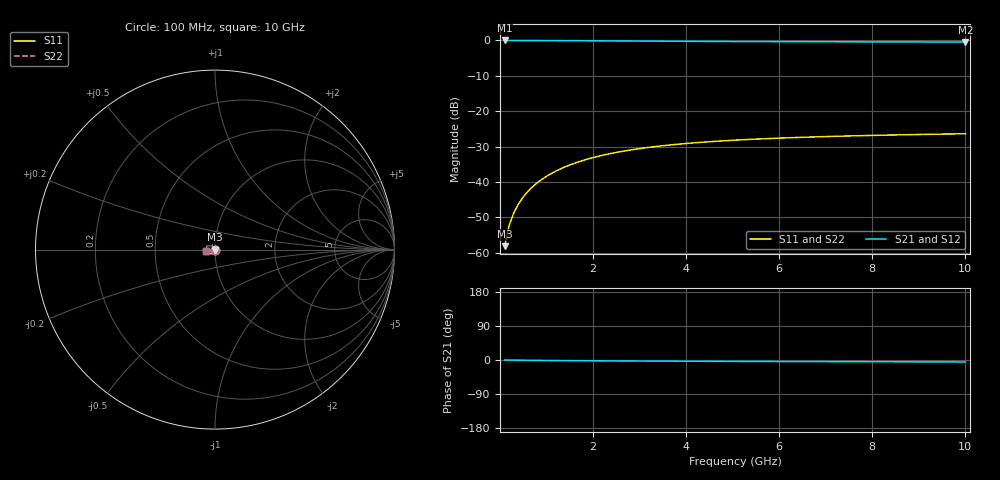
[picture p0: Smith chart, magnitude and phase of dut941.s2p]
! Touchstone file exported from HFSS 2024.1.0
!  File:  C:/UserFiles/LocalFiles/RDL_TSV_Batchsim/temp_TSV1_941_1779948094.aedt
!  Generated:  02:06:43 PM May 28, 2026
!  Design:  TSV1
!  Project:  temp_TSV1_941_1779948094
!  Setup:  Setup1
!  Solution:  Sweep
! Variables:
!  dtsv = 9.61um
!  hbump = 3um
!  htsv = 81.61um
!  lrdl = 252.1521522um
!  p = 40
!  p1 = 43.22um
!  t = 500um
!  trdl = 3um
!  wrdl = 24.89489489um
# GHz S MA R 50.000000
! Terminal data exported
! Port[1] = TSV22_T1
! Port[2] = TSV22_T2
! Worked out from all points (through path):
!   100 points, 100 MHz to 10 GHz, reference 50 ohm
!   highest |S21| = 0.00 dB at 100 MHz (marker M1); lowest = -0.4 dB at 10 GHz (marker M2)
!   lowest |S11| = -58.1 dB at 100 MHz (marker M3), VSWR 1.00, Z = 50 - j0.123 ohm
!   |S11| at or under -10 dB: start of sweep to end of sweep
!   |S22| runs from -58.1 to -26.4 dB; largest |S21 - S12| = 6.1e-15
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0.1  0.001238 -84.1  0.9998 -0.1  0.9998 -0.1  0.001238 -84.1
! Gamma 0 0 0 0
! Port Impedance 50 0 50 0
0.2  0.002463 -89.2  0.9997 -0.2  0.9997 -0.2  0.002463 -89.2
0.3  0.003692 -92.0  0.9995 -0.4  0.9995 -0.4  0.003692 -92.0
0.4  0.004919 -94.2  0.9992 -0.5  0.9992 -0.5  0.004919 -94.2
0.5  0.006138 -96.1  0.9989 -0.6  0.9989 -0.6  0.006138 -96.1
0.6  0.007346 -98.0  0.9985 -0.7  0.9985 -0.7  0.007346 -98.0
0.7  0.00854 -99.7  0.9981 -0.8  0.9981 -0.8  0.00854 -99.7
0.8  0.009718 -101.4  0.9976 -0.9  0.9976 -0.9  0.009718 -101.4
0.9  0.01088 -103.1  0.9971 -1.0  0.9971 -1.0  0.01088 -103.1
1.1  0.01314 -106.3  0.9959 -1.3  0.9959 -1.3  0.01314 -106.3
1.4  0.01636 -110.8  0.9937 -1.5  0.9937 -1.5  0.01636 -110.8
1.6  0.01838 -113.7  0.9922 -1.7  0.9922 -1.7  0.01838 -113.7
1.8  0.02029 -116.5  0.9905 -1.9  0.9905 -1.9  0.02029 -116.5
2.1  0.02297 -120.5  0.988 -2.1  0.988 -2.1  0.02297 -120.5
2.5  0.02617 -125.4  0.9845 -2.4  0.9845 -2.4  0.02617 -125.4
2.9  0.02897 -129.8  0.9811 -2.7  0.9811 -2.7  0.02897 -129.8
3.4  0.03198 -134.9  0.9771 -2.9  0.9771 -2.9  0.03198 -134.9
4.2  0.03584 -141.9  0.9715 -3.3  0.9715 -3.3  0.03584 -141.9
5.1  0.03913 -148.5  0.9662 -3.6  0.9662 -3.6  0.03913 -148.5
6.7  0.0432 -158.0  0.9593 -4.2  0.9593 -4.2  0.0432 -158.0
8.4  0.04608 -165.8  0.9543 -4.7  0.9543 -4.7  0.04608 -165.8
10  0.04804 -171.9  0.951 -5.2  0.951 -5.2  0.04804 -171.9
